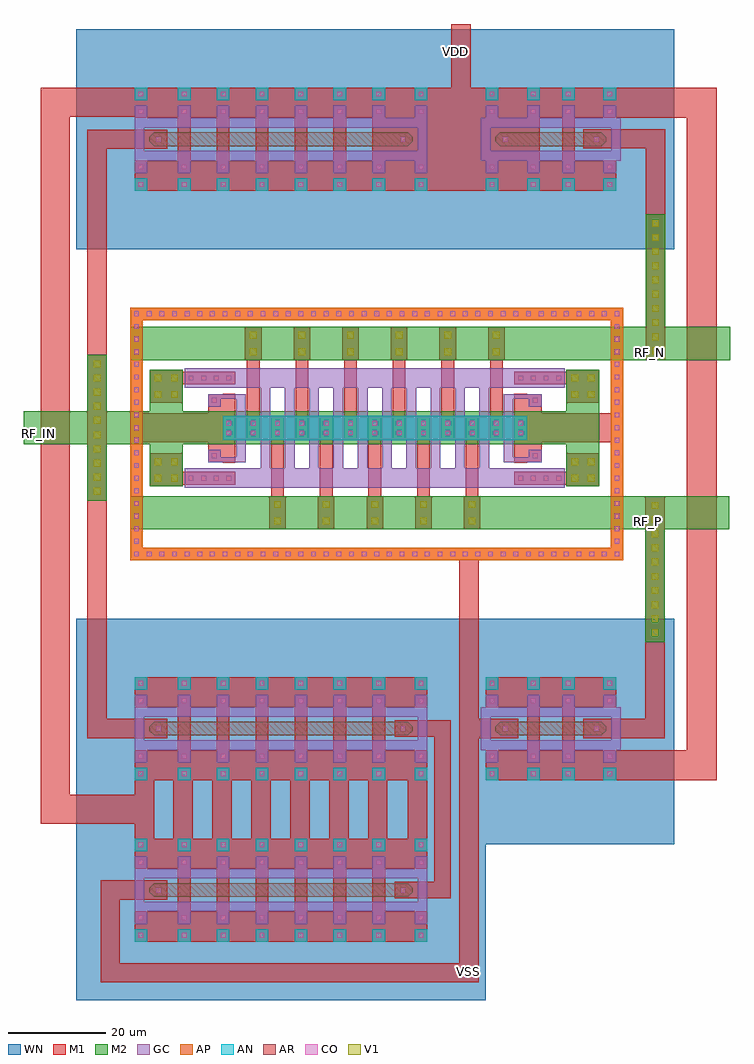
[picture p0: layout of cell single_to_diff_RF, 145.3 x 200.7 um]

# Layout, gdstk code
import gdstk
lib = gdstk.Library(unit=1e-6, precision=1e-07)
def R(c, l, rs):  # rectangles x0, y0, x1, y1
    for r in rs: c.add(gdstk.rectangle(r[:2], r[2:], *l))
def A(c, l, x, y, w, h, nx, ny, dx, dy):  # array of equal rectangles
    R(c, l, [(x+i*dx, y+j*dy, x+i*dx+w, y+j*dy+h) for i in range(nx) for j in range(ny)])
def P(c, l, *ps):  # polygons
    for p in ps: c.add(gdstk.Polygon(p, *l))
AP = (3, 1)
AN = (3, 2)
AR = (3, 3)
GC = (8, 1)
CO = (11, 0)
M1 = (13, 0)
V1 = (19, 0)
M2 = (20, 0)
WN = (140, 0)

fet_n = lib.new_cell('fet_n')
R(fet_n, AN, [(-31.3,-2.5,31.3,2.5)])
A(fet_n, CO, -30.5, -1.5, 1, 1, 13, 2, 5, 2)
A(fet_n, M1, -31.3, -2.3, 2.6, 4.6, 13, 1, 5, 0)
fet_n.add(gdstk.FlexPath([(2.5,-3.7),(2.5,3.7)], 2, ends="flush", simple_path=True, layer=8, datatype=1))  # GC
fet_n.add(gdstk.FlexPath([(-2.5,-3.7),(-2.5,3.7)], 2, ends="flush", simple_path=True, layer=8, datatype=1))  # GC
fet_n.add(gdstk.FlexPath([(7.5,-3.7),(7.5,3.7)], 2, ends="flush", simple_path=True, layer=8, datatype=1))  # GC
fet_n.add(gdstk.FlexPath([(-7.5,-3.7),(-7.5,3.7)], 2, ends="flush", simple_path=True, layer=8, datatype=1))  # GC
fet_n.add(gdstk.FlexPath([(12.5,-3.7),(12.5,3.7)], 2, ends="flush", simple_path=True, layer=8, datatype=1))  # GC
fet_n.add(gdstk.FlexPath([(-12.5,-3.7),(-12.5,3.7)], 2, ends="flush", simple_path=True, layer=8, datatype=1))  # GC
fet_n.add(gdstk.FlexPath([(17.5,-3.7),(17.5,3.7)], 2, ends="flush", simple_path=True, layer=8, datatype=1))  # GC
fet_n.add(gdstk.FlexPath([(-17.5,-3.7),(-17.5,3.7)], 2, ends="flush", simple_path=True, layer=8, datatype=1))  # GC
fet_n.add(gdstk.FlexPath([(22.5,-3.7),(22.5,3.7)], 2, ends="flush", simple_path=True, layer=8, datatype=1))  # GC
fet_n.add(gdstk.FlexPath([(-22.5,-3.7),(-22.5,3.7)], 2, ends="flush", simple_path=True, layer=8, datatype=1))  # GC
fet_n.add(gdstk.FlexPath([(27.5,-3.7),(27.5,3.7)], 2, ends="flush", simple_path=True, layer=8, datatype=1))  # GC
fet_n.add(gdstk.FlexPath([(-27.5,-3.7),(-27.5,3.7)], 2, ends="flush", simple_path=True, layer=8, datatype=1))  # GC

res_diff = lib.new_cell('res_diff')
P(res_diff, AR, [(-26.1,-1.4),(-27.1,-0.4),(-27.1,0.4),(-26.1,1.4),(26.1,1.4),(27.1,0.4),(27.1,-0.4),(26.1,-1.4)])
P(res_diff, GC, [(-30.1,-4.4),(-30.1,2.4),(-28.1,2.4),(-28.1,-2.4),(28.1,-2.4),(28.1,2.4),(-30.1,2.4),(-30.1,4.4),(30.1,4.4),(30.1,-4.4)])
R(res_diff, CO, [(-25.6,-0.5,-24.6,0.5), (24.6,-0.5,25.6,0.5)])
R(res_diff, M1, [(-26.8,-1.7,-23.4,1.7), (23.4,-1.7,26.8,1.7)])

via_1 = lib.new_cell('via_1')
R(via_1, M1, [(-1.7,-1.7,1.7,1.7)])
R(via_1, V1, [(-0.7,-0.7,0.7,0.7)])
R(via_1, M2, [(-1.7,-1.7,1.7,1.7)])

cont_p = lib.new_cell('cont_p')
R(cont_p, AP, [(-1.3,-1.3,1.3,1.3)])
R(cont_p, CO, [(-0.5,-0.5,0.5,0.5)])
R(cont_p, M1, [(-1.3,-1.3,1.3,1.3)])

cont_g = lib.new_cell('cont_g')
R(cont_g, GC, [(-1.3,-1.3,1.3,1.3)])
R(cont_g, CO, [(-0.5,-0.5,0.5,0.5)])
R(cont_g, M1, [(-1.3,-1.3,1.3,1.3)])

cont_n = lib.new_cell('cont_n')
R(cont_n, AN, [(-1.3,-1.3,1.3,1.3)])
R(cont_n, CO, [(-0.5,-0.5,0.5,0.5)])
R(cont_n, M1, [(-1.3,-1.3,1.3,1.3)])

via_1_2 = lib.new_cell('via_1$2')
R(via_1_2, M1, [(-2,-15,2,15)])
A(via_1_2, V1, -0.7, -13.8, 1.4, 1.4, 1, 5, 0, 2.9)
A(via_1_2, V1, -0.7, 0.8, 1.4, 1.4, 1, 5, 0, 2.9)
R(via_1_2, M2, [(-2,-15,2,15)])

res_diff_2 = lib.new_cell('res_diff$2')
P(res_diff_2, AR, [(-10.4,-1.4),(-11.4,-0.4),(-11.4,0.4),(-10.4,1.4),(10.4,1.4),(11.4,0.4),(11.4,-0.4),(10.4,-1.4)])
P(res_diff_2, GC, [(-14.4,-4.4),(-14.4,2.4),(-12.4,2.4),(-12.4,-2.4),(12.4,-2.4),(12.4,2.4),(-14.4,2.4),(-14.4,4.4),(14.4,4.4),(14.4,-4.4)])
R(res_diff_2, CO, [(-9.9,-0.5,-8.9,0.5), (8.9,-0.5,9.9,0.5)])
R(res_diff_2, M1, [(-11.1,-1.7,-7.7,1.7), (7.7,-1.7,11.1,1.7)])

single_to_diff_rf = lib.new_cell('single_to_diff_RF')
R(single_to_diff_rf, GC, [(46.3,-7,48.3,-6.2), (101.3,-7,103.3,-6.2), (46.3,6.2,48.3,7), (101.3,6.2,103.3,7)])
A(single_to_diff_rf, M1, 34.3, -103, 2.6, 1, 6, 2, 8, 15)
A(single_to_diff_rf, M1, 34.3, -69.8, 2.6, 1, 6, 2, 8, 15)
A(single_to_diff_rf, M1, 34.3, 51.4, 2.6, 1, 6, 2, 8, 15)
R(single_to_diff_rf, M1, [(25.4,-105.6,85.6,-99.4), (25.4,-103,28,-102), (83,-103,85.6,-102), (25.4,-90.6,85.6,-84.4), (25.4,-88,28,-87), (83,-88,85.6,-87), (25.4,-72.4,85.6,-66.2), (97.6,-72.4,124.4,-66.2), (25.4,-69.8,28,-68.8), (83,-69.8,85.6,-68.8), (97.6,-69.8,100.2,-68.8), (106.1,-69.8,108.7,-68.8), (113.3,-69.8,115.9,-68.8), (121.8,-69.8,124.4,-68.8), (25.4,-57.4,85.6,-51.2), (97.6,-57.4,124.4,-51.2), (25.4,-54.8,28,-53.8), (83,-54.8,85.6,-53.8), (97.6,-54.8,100.2,-53.8), (106.1,-54.8,108.7,-53.8), (113.3,-54.8,115.9,-53.8), (121.8,-54.8,124.4,-53.8), (43.1,-7,43.5,-4.4), (106.1,-7,106.5,-4.4), (40.5,-4.4,43.5,4.4), (106.1,-4.4,109.1,4.4), (43.1,4.4,43.5,7), (106.1,4.4,106.5,7), (25.4,48.8,85.6,55), (85.6,48.8,97.6,70), (97.6,48.8,124.4,55), (25.4,51.4,28,52.4), (83,51.4,85.6,52.4), (97.6,51.4,100.2,52.4), (106.1,51.4,108.7,52.4), (113.3,51.4,115.9,52.4), (121.8,51.4,124.4,52.4), (76.9,55,78.9,63.8), (78.9,55,85.6,63.8), (97.6,55,104.3,65), (104.3,55,106.1,65), (25.4,63.8,85.6,70), (97.6,63.8,124.4,70), (25.4,66.4,28,67.4), (83,66.4,85.6,67.4), (97.6,66.4,100.2,67.4), (106.1,66.4,108.7,67.4), (113.3,66.4,115.9,67.4), (121.8,66.4,124.4,67.4)])
R(single_to_diff_rf, WN, [(13.4,-117.6,97.6,-72.4), (85.6,-85.6,136.4,-39.2), (13.4,-84.4,97.6,-39.2), (13.4,36.8,97.6,82), (85.6,36.8,136.4,82)])
single_to_diff_rf.add(gdstk.FlexPath([(121.7,66.9),(142,66.9),(142,-69.3),(121.5,-69.3)], 6.2, ends="flush", simple_path=True, layer=13, datatype=0))  # M1
single_to_diff_rf.add(gdstk.FlexPath([(104.6,0.1),(124.2,0.1)], 6, ends="flush", simple_path=True, layer=13, datatype=0))  # M1
single_to_diff_rf.add(gdstk.FlexPath([(42.1,0.1),(26,0.1)], 6, ends="flush", simple_path=True, layer=13, datatype=0))  # M1
single_to_diff_rf.add(gdstk.FlexPath([(117.7,59.5),(132.5,59.5),(132.5,15.6)], 4, ends="flush", simple_path=True, layer=13, datatype=0))  # M1
single_to_diff_rf.add(gdstk.FlexPath([(117.7,-61.8),(132.4,-61.8),(132.4,-17.5)], 4, ends="flush", simple_path=True, layer=13, datatype=0))  # M1
single_to_diff_rf.add(gdstk.FlexPath([(104.3,-61.8),(94.2,-61.8),(94.2,-26)], 4, ends="flush", simple_path=True, layer=13, datatype=0))  # M1
single_to_diff_rf.add(gdstk.FlexPath([(49.8,2.3),(49.8,15.7)], 2.6, ends="flush", simple_path=True, layer=13, datatype=0))  # M1
single_to_diff_rf.add(gdstk.FlexPath([(59.8,2.3),(59.8,15.7)], 2.6, ends="flush", simple_path=True, layer=13, datatype=0))  # M1
single_to_diff_rf.add(gdstk.FlexPath([(54.8,-2.3),(54.8,-14.2)], 2.6, ends="flush", simple_path=True, layer=13, datatype=0))  # M1
single_to_diff_rf.add(gdstk.FlexPath([(44.8,7.1),(44.8,2.3)], 2.6, ends="flush", simple_path=True, layer=13, datatype=0))  # M1
single_to_diff_rf.add(gdstk.FlexPath([(44.8,-2.3),(44.8,-7.1)], 2.6, ends="flush", simple_path=True, layer=13, datatype=0))  # M1
single_to_diff_rf.add(gdstk.FlexPath([(64.8,-2.3),(64.8,-14.2)], 2.6, ends="flush", simple_path=True, layer=13, datatype=0))  # M1
single_to_diff_rf.add(gdstk.FlexPath([(74.8,-2.3),(74.8,-14.2)], 2.6, ends="flush", simple_path=True, layer=13, datatype=0))  # M1
single_to_diff_rf.add(gdstk.FlexPath([(84.8,-2.3),(84.8,-14.2)], 2.6, ends="flush", simple_path=True, layer=13, datatype=0))  # M1
single_to_diff_rf.add(gdstk.FlexPath([(94.8,-2.3),(94.8,-14.2)], 2.6, ends="flush", simple_path=True, layer=13, datatype=0))  # M1
single_to_diff_rf.add(gdstk.FlexPath([(104.8,-2.3),(104.8,-7.1)], 2.6, ends="flush", simple_path=True, layer=13, datatype=0))  # M1
single_to_diff_rf.add(gdstk.FlexPath([(104.8,7.1),(104.8,2.3)], 2.6, ends="flush", simple_path=True, layer=13, datatype=0))  # M1
single_to_diff_rf.add(gdstk.FlexPath([(99.8,2.3),(99.8,15.7)], 2.6, ends="flush", simple_path=True, layer=13, datatype=0))  # M1
single_to_diff_rf.add(gdstk.FlexPath([(69.8,2.3),(69.8,15.7)], 2.6, ends="flush", simple_path=True, layer=13, datatype=0))  # M1
single_to_diff_rf.add(gdstk.FlexPath([(79.8,2.3),(79.8,15.7)], 2.6, ends="flush", simple_path=True, layer=13, datatype=0))  # M1
single_to_diff_rf.add(gdstk.FlexPath([(89.8,2.3),(89.8,15.7)], 2.6, ends="flush", simple_path=True, layer=13, datatype=0))  # M1
single_to_diff_rf.add(gdstk.FlexPath([(46.1,10.3),(35.3,10.3)], 2.6, ends="flush", simple_path=True, layer=13, datatype=0))  # M1
single_to_diff_rf.add(gdstk.FlexPath([(46,-10.3),(35.3,-10.3)], 2.6, ends="flush", simple_path=True, layer=13, datatype=0))  # M1
single_to_diff_rf.add(gdstk.FlexPath([(114.2,-10.3),(103.5,-10.3)], 2.6, ends="flush", simple_path=True, layer=13, datatype=0))  # M1
single_to_diff_rf.add(gdstk.FlexPath([(114.2,10.3),(103.5,10.3)], 2.6, ends="flush", simple_path=True, layer=13, datatype=0))  # M1
single_to_diff_rf.add(gdstk.FlexPath([(35.6,-56.1),(35.6,-67.5)], 2.6, ends="flush", simple_path=True, layer=13, datatype=0))  # M1
single_to_diff_rf.add(gdstk.FlexPath([(35.6,65.1),(35.6,53.7)], 2.6, ends="flush", simple_path=True, layer=13, datatype=0))  # M1
single_to_diff_rf.add(gdstk.FlexPath([(43.6,65.1),(43.6,53.7)], 2.6, ends="flush", simple_path=True, layer=13, datatype=0))  # M1
single_to_diff_rf.add(gdstk.FlexPath([(51.6,65.1),(51.6,53.7)], 2.6, ends="flush", simple_path=True, layer=13, datatype=0))  # M1
single_to_diff_rf.add(gdstk.FlexPath([(59.6,65.1),(59.6,53.7)], 2.6, ends="flush", simple_path=True, layer=13, datatype=0))  # M1
single_to_diff_rf.add(gdstk.FlexPath([(67.6,65.1),(67.6,53.7)], 2.6, ends="flush", simple_path=True, layer=13, datatype=0))  # M1
single_to_diff_rf.add(gdstk.FlexPath([(75.6,65.1),(75.6,53.7)], 2.6, ends="flush", simple_path=True, layer=13, datatype=0))  # M1
single_to_diff_rf.add(gdstk.FlexPath([(43.6,-56.1),(43.6,-67.5)], 2.6, ends="flush", simple_path=True, layer=13, datatype=0))  # M1
single_to_diff_rf.add(gdstk.FlexPath([(51.6,-56.1),(51.6,-67.5)], 2.6, ends="flush", simple_path=True, layer=13, datatype=0))  # M1
single_to_diff_rf.add(gdstk.FlexPath([(59.6,-56.1),(59.6,-67.5)], 2.6, ends="flush", simple_path=True, layer=13, datatype=0))  # M1
single_to_diff_rf.add(gdstk.FlexPath([(67.6,-56.1),(67.6,-67.5)], 2.6, ends="flush", simple_path=True, layer=13, datatype=0))  # M1
single_to_diff_rf.add(gdstk.FlexPath([(75.6,-56.1),(75.6,-67.5)], 2.6, ends="flush", simple_path=True, layer=13, datatype=0))  # M1
single_to_diff_rf.add(gdstk.FlexPath([(35.6,-89.3),(35.6,-100.7)], 2.6, ends="flush", simple_path=True, layer=13, datatype=0))  # M1
single_to_diff_rf.add(gdstk.FlexPath([(43.6,-89.3),(43.6,-100.7)], 2.6, ends="flush", simple_path=True, layer=13, datatype=0))  # M1
single_to_diff_rf.add(gdstk.FlexPath([(51.6,-89.3),(51.6,-100.7)], 2.6, ends="flush", simple_path=True, layer=13, datatype=0))  # M1
single_to_diff_rf.add(gdstk.FlexPath([(59.6,-89.3),(59.6,-100.7)], 2.6, ends="flush", simple_path=True, layer=13, datatype=0))  # M1
single_to_diff_rf.add(gdstk.FlexPath([(67.6,-89.3),(67.6,-100.7)], 2.6, ends="flush", simple_path=True, layer=13, datatype=0))  # M1
single_to_diff_rf.add(gdstk.FlexPath([(75.6,-89.3),(75.6,-100.7)], 2.6, ends="flush", simple_path=True, layer=13, datatype=0))  # M1
single_to_diff_rf.add(gdstk.FlexPath([(107.4,-56.1),(107.4,-68.8)], 2.6, ends="flush", simple_path=True, layer=13, datatype=0))  # M1
single_to_diff_rf.add(gdstk.FlexPath([(114.6,-56.1),(114.6,-68.8)], 2.6, ends="flush", simple_path=True, layer=13, datatype=0))  # M1
single_to_diff_rf.add(gdstk.FlexPath([(78.9,-61.8),(88.7,-61.8),(88.7,-95),(78.9,-95)], 3.4, ends="flush", simple_path=True, layer=13, datatype=0))  # M1
single_to_diff_rf.add(gdstk.FlexPath([(107.4,66.3),(107.4,53.6)], 2.6, ends="flush", simple_path=True, layer=13, datatype=0))  # M1
single_to_diff_rf.add(gdstk.FlexPath([(114.6,66.3),(114.6,53.6)], 2.6, ends="flush", simple_path=True, layer=13, datatype=0))  # M1
single_to_diff_rf.add(gdstk.FlexPath([(27.4,-71.1),(27.4,-85.7)], 4, ends="flush", simple_path=True, layer=13, datatype=0))  # M1
single_to_diff_rf.add(gdstk.FlexPath([(35.4,-71.1),(35.4,-85.7)], 4, ends="flush", simple_path=True, layer=13, datatype=0))  # M1
single_to_diff_rf.add(gdstk.FlexPath([(43.4,-71.1),(43.4,-85.7)], 4, ends="flush", simple_path=True, layer=13, datatype=0))  # M1
single_to_diff_rf.add(gdstk.FlexPath([(51.4,-71.1),(51.4,-85.7)], 4, ends="flush", simple_path=True, layer=13, datatype=0))  # M1
single_to_diff_rf.add(gdstk.FlexPath([(59.4,-71.1),(59.4,-85.7)], 4, ends="flush", simple_path=True, layer=13, datatype=0))  # M1
single_to_diff_rf.add(gdstk.FlexPath([(67.4,-71.1),(67.4,-85.7)], 4, ends="flush", simple_path=True, layer=13, datatype=0))  # M1
single_to_diff_rf.add(gdstk.FlexPath([(75.4,-71.1),(75.4,-85.7)], 4, ends="flush", simple_path=True, layer=13, datatype=0))  # M1
single_to_diff_rf.add(gdstk.FlexPath([(83.6,-71.1),(83.6,-85.7)], 4, ends="flush", simple_path=True, layer=13, datatype=0))  # M1
single_to_diff_rf.add(gdstk.FlexPath([(94.2,-62.5),(94.2,-112),(20.4,-112),(20.4,-95),(32.1,-95)], 4, ends="flush", simple_path=True, layer=13, datatype=0))  # M1
single_to_diff_rf.add(gdstk.FlexPath([(32.1,-61.8),(17.7,-61.8),(17.7,0.1)], 4, ends="flush", simple_path=True, layer=13, datatype=0))  # M1
single_to_diff_rf.add(gdstk.FlexPath([(32.1,59.4),(17.7,59.4),(17.7,-1.7)], 4, ends="flush", simple_path=True, layer=13, datatype=0))  # M1
single_to_diff_rf.add(gdstk.FlexPath([(92.5,67.3),(92.5,83.1)], 4, ends="flush", simple_path=True, layer=13, datatype=0))  # M1
single_to_diff_rf.add(gdstk.FlexPath([(27.4,-78.4),(9.1,-78.4),(9.1,67),(27.6,67)], 6, ends="flush", simple_path=True, layer=13, datatype=0))  # M1
single_to_diff_rf.add(gdstk.FlexPath([(125.8,17.4),(147.9,17.4)], 6.8, ends="flush", simple_path=True, layer=20, datatype=0))  # M2
single_to_diff_rf.add(gdstk.FlexPath([(125.8,-17.4),(147.7,-17.4)], 6.8, ends="flush", simple_path=True, layer=20, datatype=0))  # M2
single_to_diff_rf.add(gdstk.FlexPath([(31.9,8.6),(31.9,-8.8)], 6.8, ends="flush", simple_path=True, layer=20, datatype=0))  # M2
single_to_diff_rf.add(gdstk.FlexPath([(117.6,8.6),(117.6,-8.3)], 6.8, ends="flush", simple_path=True, layer=20, datatype=0))  # M2
single_to_diff_rf.add(gdstk.FlexPath([(24.5,17.4),(125.9,17.4)], 6.8, ends="flush", simple_path=True, layer=20, datatype=0))  # M2
single_to_diff_rf.add(gdstk.FlexPath([(24.5,-17.4),(125.9,-17.4)], 6.8, ends="flush", simple_path=True, layer=20, datatype=0))  # M2
single_to_diff_rf.add(gdstk.FlexPath([(121,0.1),(2.6,0.1)], 6.8, ends="flush", simple_path=True, layer=20, datatype=0))  # M2
single_to_diff_rf.add(gdstk.FlexPath([(52.3,-3.7),(52.3,-8.3)], 2, ends="flush", simple_path=True, layer=8, datatype=1))  # GC
single_to_diff_rf.add(gdstk.FlexPath([(57.3,-3.7),(57.3,-8.3)], 2, ends="flush", simple_path=True, layer=8, datatype=1))  # GC
single_to_diff_rf.add(gdstk.FlexPath([(62.3,-3.7),(62.3,-8.3)], 2, ends="flush", simple_path=True, layer=8, datatype=1))  # GC
single_to_diff_rf.add(gdstk.FlexPath([(67.3,-3.7),(67.3,-8.3)], 2, ends="flush", simple_path=True, layer=8, datatype=1))  # GC
single_to_diff_rf.add(gdstk.FlexPath([(72.3,-3.7),(72.3,-8.3)], 2, ends="flush", simple_path=True, layer=8, datatype=1))  # GC
single_to_diff_rf.add(gdstk.FlexPath([(77.3,-3.7),(77.3,-8.3)], 2, ends="flush", simple_path=True, layer=8, datatype=1))  # GC
single_to_diff_rf.add(gdstk.FlexPath([(82.3,-3.7),(82.3,-8.3)], 2, ends="flush", simple_path=True, layer=8, datatype=1))  # GC
single_to_diff_rf.add(gdstk.FlexPath([(87.3,-3.7),(87.3,-8.3)], 2, ends="flush", simple_path=True, layer=8, datatype=1))  # GC
single_to_diff_rf.add(gdstk.FlexPath([(92.3,-3.7),(92.3,-8.3)], 2, ends="flush", simple_path=True, layer=8, datatype=1))  # GC
single_to_diff_rf.add(gdstk.FlexPath([(97.3,-3.7),(97.3,-8.3)], 2, ends="flush", simple_path=True, layer=8, datatype=1))  # GC
single_to_diff_rf.add(gdstk.FlexPath([(102.3,-3.7),(102.3,-6.2)], 2, ends="flush", simple_path=True, layer=8, datatype=1))  # GC
single_to_diff_rf.add(gdstk.FlexPath([(102.3,3.7),(102.3,6.2)], 2, ends="flush", simple_path=True, layer=8, datatype=1))  # GC
single_to_diff_rf.add(gdstk.FlexPath([(97.3,8.3),(97.3,3.7)], 2, ends="flush", simple_path=True, layer=8, datatype=1))  # GC
single_to_diff_rf.add(gdstk.FlexPath([(92.3,8.3),(92.3,3.7)], 2, ends="flush", simple_path=True, layer=8, datatype=1))  # GC
single_to_diff_rf.add(gdstk.FlexPath([(47.3,3.7),(47.3,6.2)], 2, ends="flush", simple_path=True, layer=8, datatype=1))  # GC
single_to_diff_rf.add(gdstk.FlexPath([(47.3,-3.7),(47.3,-6.2)], 2, ends="flush", simple_path=True, layer=8, datatype=1))  # GC
single_to_diff_rf.add(gdstk.FlexPath([(52.3,8.3),(52.3,3.7)], 2, ends="flush", simple_path=True, layer=8, datatype=1))  # GC
single_to_diff_rf.add(gdstk.FlexPath([(57.3,8.3),(57.3,3.7)], 2, ends="flush", simple_path=True, layer=8, datatype=1))  # GC
single_to_diff_rf.add(gdstk.FlexPath([(62.3,8.3),(62.3,3.7)], 2, ends="flush", simple_path=True, layer=8, datatype=1))  # GC
single_to_diff_rf.add(gdstk.FlexPath([(67.3,8.3),(67.3,3.7)], 2, ends="flush", simple_path=True, layer=8, datatype=1))  # GC
single_to_diff_rf.add(gdstk.FlexPath([(72.3,8.3),(72.3,3.7)], 2, ends="flush", simple_path=True, layer=8, datatype=1))  # GC
single_to_diff_rf.add(gdstk.FlexPath([(77.3,8.3),(77.3,3.7)], 2, ends="flush", simple_path=True, layer=8, datatype=1))  # GC
single_to_diff_rf.add(gdstk.FlexPath([(82.3,8.3),(82.3,3.7)], 2, ends="flush", simple_path=True, layer=8, datatype=1))  # GC
single_to_diff_rf.add(gdstk.FlexPath([(87.3,8.3),(87.3,3.7)], 2, ends="flush", simple_path=True, layer=8, datatype=1))  # GC
single_to_diff_rf.add(gdstk.FlexPath([(46.3,6.5),(43.1,6.5)], 1, ends="flush", simple_path=True, layer=8, datatype=1))  # GC
single_to_diff_rf.add(gdstk.FlexPath([(46.3,-6.5),(43.1,-6.5)], 1, ends="flush", simple_path=True, layer=8, datatype=1))  # GC
single_to_diff_rf.add(gdstk.FlexPath([(106.5,6.5),(103.3,6.5)], 1, ends="flush", simple_path=True, layer=8, datatype=1))  # GC
single_to_diff_rf.add(gdstk.FlexPath([(106.5,-6.5),(103.3,-6.5)], 1, ends="flush", simple_path=True, layer=8, datatype=1))  # GC
single_to_diff_rf.add(gdstk.FlexPath([(35.7,-10.3),(113.9,-10.3)], 4, ends="flush", simple_path=True, layer=8, datatype=1))  # GC
single_to_diff_rf.add(gdstk.FlexPath([(113.9,10.3),(35.7,10.3)], 4, ends="flush", simple_path=True, layer=8, datatype=1))  # GC
single_to_diff_rf.add(gdstk.Reference(fet_n, (74.8,0)))
single_to_diff_rf.add(gdstk.Reference(res_diff, (55.5,59.4)))
single_to_diff_rf.add(gdstk.Reference(via_1, (74.8,-15.7)))
single_to_diff_rf.add(gdstk.Reference(via_1, (74.8,-19.1)))
single_to_diff_rf.add(gdstk.Reference(cont_p, (75.2,23.5)))
single_to_diff_rf.add(gdstk.Reference(cont_p, (124.6,-18.1)))
single_to_diff_rf.add(gdstk.Reference(cont_p, (25.8,-18.1)))
single_to_diff_rf.add(gdstk.Reference(cont_p, (75.2,-25.9)))
single_to_diff_rf.add(gdstk.Reference(cont_g, (75.6,53.7)))
single_to_diff_rf.add(gdstk.Reference(cont_n, (75.6,50.1)))
single_to_diff_rf.add(gdstk.Reference(cont_g, (75.6,65.1)))
single_to_diff_rf.add(gdstk.Reference(cont_n, (75.6,68.7)))
single_to_diff_rf.add(gdstk.Reference(res_diff, (55.5,-61.8)))
single_to_diff_rf.add(gdstk.Reference(cont_g, (75.6,-67.5)))
single_to_diff_rf.add(gdstk.Reference(cont_n, (75.6,-71.1)))
single_to_diff_rf.add(gdstk.Reference(cont_g, (75.6,-56.1)))
single_to_diff_rf.add(gdstk.Reference(cont_n, (75.6,-52.5)))
single_to_diff_rf.add(gdstk.Reference(res_diff, (55.5,-95)))
single_to_diff_rf.add(gdstk.Reference(cont_g, (75.6,-100.7)))
single_to_diff_rf.add(gdstk.Reference(cont_n, (75.6,-104.3)))
single_to_diff_rf.add(gdstk.Reference(cont_g, (75.6,-89.3)))
single_to_diff_rf.add(gdstk.Reference(cont_n, (75.6,-85.7)))
single_to_diff_rf.add(gdstk.Reference(via_1_2, (132.4,-29)))
single_to_diff_rf.add(gdstk.Reference(via_1, (54.8,-19.1)))
single_to_diff_rf.add(gdstk.Reference(via_1, (64.8,-19.1)))
single_to_diff_rf.add(gdstk.Reference(via_1, (84.8,-19.1)))
single_to_diff_rf.add(gdstk.Reference(via_1, (94.8,-19.1)))
single_to_diff_rf.add(gdstk.Reference(via_1, (89.8,15.7)))
single_to_diff_rf.add(gdstk.Reference(via_1, (99.8,15.7)))
single_to_diff_rf.add(gdstk.Reference(via_1, (79.8,19.1)))
single_to_diff_rf.add(gdstk.Reference(via_1, (89.8,19.1)))
single_to_diff_rf.add(gdstk.Reference(via_1, (99.8,19.1)))
single_to_diff_rf.add(gdstk.Reference(cont_g, (107.8,-5.7)))
single_to_diff_rf.add(gdstk.Reference(cont_g, (107.8,5.7)))
single_to_diff_rf.add(gdstk.Reference(via_1, (119.3,-6.9)))
single_to_diff_rf.add(gdstk.Reference(via_1, (115.9,-6.9)))
single_to_diff_rf.add(gdstk.Reference(via_1, (119.3,-10.3)))
single_to_diff_rf.add(gdstk.Reference(via_1, (115.9,-10.3)))
single_to_diff_rf.add(gdstk.Reference(via_1, (119.3,10.3)))
single_to_diff_rf.add(gdstk.Reference(cont_p, (77.8,23.5)))
single_to_diff_rf.add(gdstk.Reference(cont_p, (80.4,23.5)))
single_to_diff_rf.add(gdstk.Reference(cont_p, (83,23.5)))
single_to_diff_rf.add(gdstk.Reference(cont_p, (85.6,23.5)))
single_to_diff_rf.add(gdstk.Reference(cont_p, (88.2,23.5)))
single_to_diff_rf.add(gdstk.Reference(cont_p, (90.8,23.5)))
single_to_diff_rf.add(gdstk.Reference(cont_p, (93.4,23.5)))
single_to_diff_rf.add(gdstk.Reference(cont_p, (96,23.5)))
single_to_diff_rf.add(gdstk.Reference(cont_p, (98.6,23.5)))
single_to_diff_rf.add(gdstk.Reference(cont_p, (101.2,23.5)))
single_to_diff_rf.add(gdstk.Reference(cont_p, (103.8,23.5)))
single_to_diff_rf.add(gdstk.Reference(cont_p, (106.4,23.5)))
single_to_diff_rf.add(gdstk.Reference(cont_p, (109,23.5)))
single_to_diff_rf.add(gdstk.Reference(cont_p, (111.6,23.5)))
single_to_diff_rf.add(gdstk.Reference(cont_p, (114.2,23.5)))
single_to_diff_rf.add(gdstk.Reference(cont_p, (116.8,23.5)))
single_to_diff_rf.add(gdstk.Reference(cont_p, (119.4,23.5)))
single_to_diff_rf.add(gdstk.Reference(cont_p, (122,23.5)))
single_to_diff_rf.add(gdstk.Reference(cont_p, (124.6,23.5)))
single_to_diff_rf.add(gdstk.Reference(cont_p, (124.6,20.9)))
single_to_diff_rf.add(gdstk.Reference(cont_p, (124.6,18.3)))
single_to_diff_rf.add(gdstk.Reference(cont_p, (124.6,15.7)))
single_to_diff_rf.add(gdstk.Reference(cont_p, (124.6,13.1)))
single_to_diff_rf.add(gdstk.Reference(cont_p, (124.6,10.5)))
single_to_diff_rf.add(gdstk.Reference(cont_p, (124.6,7.9)))
single_to_diff_rf.add(gdstk.Reference(cont_p, (124.6,5.3)))
single_to_diff_rf.add(gdstk.Reference(cont_p, (124.6,2.7)))
single_to_diff_rf.add(gdstk.Reference(cont_p, (124.6,0.1)))
single_to_diff_rf.add(gdstk.Reference(cont_p, (124.6,-2.5)))
single_to_diff_rf.add(gdstk.Reference(cont_p, (124.6,-5.1)))
single_to_diff_rf.add(gdstk.Reference(cont_p, (124.6,-7.7)))
single_to_diff_rf.add(gdstk.Reference(cont_p, (124.6,-10.3)))
single_to_diff_rf.add(gdstk.Reference(cont_p, (124.6,-12.9)))
single_to_diff_rf.add(gdstk.Reference(cont_p, (124.6,-15.5)))
single_to_diff_rf.add(gdstk.Reference(via_1, (115.9,10.3)))
single_to_diff_rf.add(gdstk.Reference(via_1, (119.3,6.9)))
single_to_diff_rf.add(gdstk.Reference(via_1, (115.9,6.9)))
single_to_diff_rf.add(gdstk.Reference(via_1, (119.3,-6.9)))
single_to_diff_rf.add(gdstk.Reference(cont_g, (84.3,53.7)))
single_to_diff_rf.add(gdstk.Reference(via_1, (115.9,-6.9)))
single_to_diff_rf.add(gdstk.Reference(cont_n, (84.3,50.1)))
single_to_diff_rf.add(gdstk.Reference(via_1, (119.3,-10.3)))
single_to_diff_rf.add(gdstk.Reference(cont_g, (84.3,65.1)))
single_to_diff_rf.add(gdstk.Reference(via_1, (115.9,-10.3)))
single_to_diff_rf.add(gdstk.Reference(cont_n, (84.3,68.7)))
single_to_diff_rf.add(gdstk.Reference(via_1, (119.3,10.3)))
single_to_diff_rf.add(gdstk.Reference(via_1, (115.9,10.3)))
single_to_diff_rf.add(gdstk.Reference(via_1, (119.3,6.9)))
single_to_diff_rf.add(gdstk.Reference(via_1, (115.9,6.9)))
single_to_diff_rf.add(gdstk.Reference(cont_g, (112.6,-10.3)))
single_to_diff_rf.add(gdstk.Reference(cont_g, (110,-10.3)))
single_to_diff_rf.add(gdstk.Reference(cont_g, (107.4,-10.3)))
single_to_diff_rf.add(gdstk.Reference(cont_g, (104.8,-10.3)))
single_to_diff_rf.add(gdstk.Reference(cont_g, (112.6,10.3)))
single_to_diff_rf.add(gdstk.Reference(cont_g, (110,10.3)))
single_to_diff_rf.add(gdstk.Reference(res_diff_2, (111,59.4)))
single_to_diff_rf.add(gdstk.Reference(cont_g, (98.9,65.1)))
single_to_diff_rf.add(gdstk.Reference(cont_n, (98.9,68.7)))
single_to_diff_rf.add(gdstk.Reference(cont_g, (98.9,53.7)))
single_to_diff_rf.add(gdstk.Reference(cont_n, (98.9,50.1)))
single_to_diff_rf.add(gdstk.Reference(cont_g, (107.4,65.1)))
single_to_diff_rf.add(gdstk.Reference(cont_g, (114.6,65.1)))
single_to_diff_rf.add(gdstk.Reference(cont_g, (123.1,65.1)))
single_to_diff_rf.add(gdstk.Reference(cont_n, (107.4,68.7)))
single_to_diff_rf.add(gdstk.Reference(cont_n, (114.6,68.7)))
single_to_diff_rf.add(gdstk.Reference(cont_n, (123.1,68.7)))
single_to_diff_rf.add(gdstk.Reference(cont_g, (107.4,53.7)))
single_to_diff_rf.add(gdstk.Reference(cont_g, (114.6,53.7)))
single_to_diff_rf.add(gdstk.Reference(cont_g, (123.1,53.7)))
single_to_diff_rf.add(gdstk.Reference(cont_n, (107.4,50.1)))
single_to_diff_rf.add(gdstk.Reference(cont_n, (114.6,50.1)))
single_to_diff_rf.add(gdstk.Reference(cont_n, (123.1,50.1)))
single_to_diff_rf.add(gdstk.Reference(cont_g, (107.4,10.3)))
single_to_diff_rf.add(gdstk.Reference(via_1_2, (132.5,29)))
single_to_diff_rf.add(gdstk.Reference(via_1, (84.8,-15.7)))
single_to_diff_rf.add(gdstk.Reference(via_1, (94.8,-15.7)))
single_to_diff_rf.add(gdstk.Reference(cont_g, (104.8,10.3)))
single_to_diff_rf.add(gdstk.Reference(via_1, (79.8,15.7)))
single_to_diff_rf.add(gdstk.Reference(cont_p, (38.8,23.5)))
single_to_diff_rf.add(gdstk.Reference(cont_p, (41.4,23.5)))
single_to_diff_rf.add(gdstk.Reference(cont_p, (44,23.5)))
single_to_diff_rf.add(gdstk.Reference(cont_p, (46.6,23.5)))
single_to_diff_rf.add(gdstk.Reference(cont_p, (49.2,23.5)))
single_to_diff_rf.add(gdstk.Reference(cont_n, (26.7,50.1)))
single_to_diff_rf.add(gdstk.Reference(cont_p, (25.8,18.3)))
single_to_diff_rf.add(gdstk.Reference(cont_p, (25.8,15.7)))
single_to_diff_rf.add(gdstk.Reference(cont_p, (25.8,13.1)))
single_to_diff_rf.add(gdstk.Reference(cont_p, (25.8,10.5)))
single_to_diff_rf.add(gdstk.Reference(cont_p, (25.8,7.9)))
single_to_diff_rf.add(gdstk.Reference(cont_p, (25.8,5.3)))
single_to_diff_rf.add(gdstk.Reference(cont_p, (25.8,2.7)))
single_to_diff_rf.add(gdstk.Reference(cont_p, (25.8,0.1)))
single_to_diff_rf.add(gdstk.Reference(cont_p, (25.8,-2.5)))
single_to_diff_rf.add(gdstk.Reference(cont_p, (25.8,-5.1)))
single_to_diff_rf.add(gdstk.Reference(cont_p, (25.8,-7.7)))
single_to_diff_rf.add(gdstk.Reference(cont_p, (25.8,-10.3)))
single_to_diff_rf.add(gdstk.Reference(cont_p, (25.8,-12.9)))
single_to_diff_rf.add(gdstk.Reference(cont_p, (25.8,-15.5)))
single_to_diff_rf.add(gdstk.Reference(cont_p, (51.8,23.5)))
single_to_diff_rf.add(gdstk.Reference(cont_p, (54.4,23.5)))
single_to_diff_rf.add(gdstk.Reference(cont_g, (26.7,65.1)))
single_to_diff_rf.add(gdstk.Reference(cont_n, (26.7,68.7)))
single_to_diff_rf.add(gdstk.Reference(cont_g, (35.6,53.7)))
single_to_diff_rf.add(gdstk.Reference(cont_g, (43.6,53.7)))
single_to_diff_rf.add(gdstk.Reference(cont_g, (51.6,53.7)))
single_to_diff_rf.add(gdstk.Reference(cont_g, (59.6,53.7)))
single_to_diff_rf.add(gdstk.Reference(cont_g, (67.6,53.7)))
single_to_diff_rf.add(gdstk.Reference(cont_p, (57,23.5)))
single_to_diff_rf.add(gdstk.Reference(cont_p, (59.6,23.5)))
single_to_diff_rf.add(gdstk.Reference(cont_n, (35.6,50.1)))
single_to_diff_rf.add(gdstk.Reference(cont_n, (43.6,50.1)))
single_to_diff_rf.add(gdstk.Reference(cont_n, (51.6,50.1)))
single_to_diff_rf.add(gdstk.Reference(cont_n, (59.6,50.1)))
single_to_diff_rf.add(gdstk.Reference(cont_n, (67.6,50.1)))
single_to_diff_rf.add(gdstk.Reference(cont_p, (62.2,23.5)))
single_to_diff_rf.add(gdstk.Reference(cont_p, (64.8,23.5)))
single_to_diff_rf.add(gdstk.Reference(cont_g, (35.6,65.1)))
single_to_diff_rf.add(gdstk.Reference(cont_g, (43.6,65.1)))
single_to_diff_rf.add(gdstk.Reference(cont_g, (51.6,65.1)))
single_to_diff_rf.add(gdstk.Reference(cont_g, (59.6,65.1)))
single_to_diff_rf.add(gdstk.Reference(cont_g, (67.6,65.1)))
single_to_diff_rf.add(gdstk.Reference(cont_p, (67.4,23.5)))
single_to_diff_rf.add(gdstk.Reference(cont_p, (70,23.5)))
single_to_diff_rf.add(gdstk.Reference(cont_n, (35.6,68.7)))
single_to_diff_rf.add(gdstk.Reference(cont_n, (43.6,68.7)))
single_to_diff_rf.add(gdstk.Reference(cont_n, (51.6,68.7)))
single_to_diff_rf.add(gdstk.Reference(cont_n, (59.6,68.7)))
single_to_diff_rf.add(gdstk.Reference(cont_n, (67.6,68.7)))
single_to_diff_rf.add(gdstk.Reference(cont_p, (72.6,23.5)))
single_to_diff_rf.add(gdstk.Reference(via_1, (30.2,10.3)))
single_to_diff_rf.add(gdstk.Reference(via_1, (33.6,6.9)))
single_to_diff_rf.add(gdstk.Reference(via_1, (30.2,6.9)))
single_to_diff_rf.add(gdstk.Reference(via_1, (30.2,-10.3)))
single_to_diff_rf.add(gdstk.Reference(via_1, (33.6,-6.9)))
single_to_diff_rf.add(gdstk.Reference(via_1, (30.2,-6.9)))
single_to_diff_rf.add(gdstk.Reference(cont_g, (41.8,5.7)))
single_to_diff_rf.add(gdstk.Reference(via_1_2, (17.7,0.1)))
single_to_diff_rf.add(gdstk.Reference(cont_g, (41.8,-5.7)))
single_to_diff_rf.add(gdstk.Reference(cont_p, (28.4,23.5)))
single_to_diff_rf.add(gdstk.Reference(cont_p, (31,23.5)))
single_to_diff_rf.add(gdstk.Reference(via_1, (59.8,15.7)))
single_to_diff_rf.add(gdstk.Reference(via_1, (69.8,15.7)))
single_to_diff_rf.add(gdstk.Reference(via_1, (33.6,10.3)))
single_to_diff_rf.add(gdstk.Reference(via_1, (49.8,15.7)))
single_to_diff_rf.add(gdstk.Reference(via_1, (49.8,19.1)))
single_to_diff_rf.add(gdstk.Reference(via_1, (59.8,19.1)))
single_to_diff_rf.add(gdstk.Reference(via_1, (69.8,19.1)))
single_to_diff_rf.add(gdstk.Reference(cont_g, (44.8,10.3)))
single_to_diff_rf.add(gdstk.Reference(cont_g, (42.2,10.3)))
single_to_diff_rf.add(gdstk.Reference(cont_g, (26.7,53.7)))
single_to_diff_rf.add(gdstk.Reference(cont_g, (39.6,10.3)))
single_to_diff_rf.add(gdstk.Reference(cont_g, (37,10.3)))
single_to_diff_rf.add(gdstk.Reference(cont_p, (25.8,20.9)))
single_to_diff_rf.add(gdstk.Reference(cont_g, (44.8,-10.3)))
single_to_diff_rf.add(gdstk.Reference(cont_g, (42.2,-10.3)))
single_to_diff_rf.add(gdstk.Reference(cont_g, (39.6,-10.3)))
single_to_diff_rf.add(gdstk.Reference(cont_g, (37,-10.3)))
single_to_diff_rf.add(gdstk.Reference(cont_p, (33.6,23.5)))
single_to_diff_rf.add(gdstk.Reference(via_1, (33.6,-10.3)))
single_to_diff_rf.add(gdstk.Reference(via_1, (64.8,-15.7)))
single_to_diff_rf.add(gdstk.Reference(via_1, (54.8,-15.7)))
single_to_diff_rf.add(gdstk.Reference(cont_p, (25.8,23.5)))
single_to_diff_rf.add(gdstk.Reference(cont_p, (36.2,23.5)))
single_to_diff_rf.add(gdstk.Reference(cont_p, (38.8,-25.9)))
single_to_diff_rf.add(gdstk.Reference(cont_n, (35.6,-71.1)))
single_to_diff_rf.add(gdstk.Reference(cont_n, (43.6,-71.1)))
single_to_diff_rf.add(gdstk.Reference(cont_n, (51.6,-71.1)))
single_to_diff_rf.add(gdstk.Reference(cont_n, (59.6,-71.1)))
single_to_diff_rf.add(gdstk.Reference(cont_n, (67.6,-71.1)))
single_to_diff_rf.add(gdstk.Reference(cont_p, (41.4,-25.9)))
single_to_diff_rf.add(gdstk.Reference(cont_g, (35.6,-56.1)))
single_to_diff_rf.add(gdstk.Reference(cont_g, (43.6,-56.1)))
single_to_diff_rf.add(gdstk.Reference(cont_g, (51.6,-56.1)))
single_to_diff_rf.add(gdstk.Reference(cont_g, (59.6,-56.1)))
single_to_diff_rf.add(gdstk.Reference(cont_g, (67.6,-56.1)))
single_to_diff_rf.add(gdstk.Reference(cont_p, (44,-25.9)))
single_to_diff_rf.add(gdstk.Reference(cont_n, (35.6,-52.5)))
single_to_diff_rf.add(gdstk.Reference(cont_n, (43.6,-52.5)))
single_to_diff_rf.add(gdstk.Reference(cont_n, (51.6,-52.5)))
single_to_diff_rf.add(gdstk.Reference(cont_n, (59.6,-52.5)))
single_to_diff_rf.add(gdstk.Reference(cont_n, (67.6,-52.5)))
single_to_diff_rf.add(gdstk.Reference(cont_p, (46.6,-25.9)))
single_to_diff_rf.add(gdstk.Reference(cont_p, (49.2,-25.9)))
single_to_diff_rf.add(gdstk.Reference(cont_g, (26.7,-100.7)))
single_to_diff_rf.add(gdstk.Reference(cont_n, (26.7,-104.3)))
single_to_diff_rf.add(gdstk.Reference(cont_g, (26.7,-89.3)))
single_to_diff_rf.add(gdstk.Reference(cont_n, (26.7,-85.7)))
single_to_diff_rf.add(gdstk.Reference(cont_g, (35.6,-100.7)))
single_to_diff_rf.add(gdstk.Reference(cont_g, (43.6,-100.7)))
single_to_diff_rf.add(gdstk.Reference(cont_g, (51.6,-100.7)))
single_to_diff_rf.add(gdstk.Reference(cont_g, (59.6,-100.7)))
single_to_diff_rf.add(gdstk.Reference(cont_g, (67.6,-100.7)))
single_to_diff_rf.add(gdstk.Reference(cont_p, (51.8,-25.9)))
single_to_diff_rf.add(gdstk.Reference(cont_n, (35.6,-104.3)))
single_to_diff_rf.add(gdstk.Reference(cont_n, (43.6,-104.3)))
single_to_diff_rf.add(gdstk.Reference(cont_n, (51.6,-104.3)))
single_to_diff_rf.add(gdstk.Reference(cont_n, (59.6,-104.3)))
single_to_diff_rf.add(gdstk.Reference(cont_n, (67.6,-104.3)))
single_to_diff_rf.add(gdstk.Reference(cont_p, (54.4,-25.9)))
single_to_diff_rf.add(gdstk.Reference(cont_g, (35.6,-89.3)))
single_to_diff_rf.add(gdstk.Reference(cont_g, (43.6,-89.3)))
single_to_diff_rf.add(gdstk.Reference(cont_g, (51.6,-89.3)))
single_to_diff_rf.add(gdstk.Reference(cont_g, (59.6,-89.3)))
single_to_diff_rf.add(gdstk.Reference(cont_g, (67.6,-89.3)))
single_to_diff_rf.add(gdstk.Reference(cont_p, (57,-25.9)))
single_to_diff_rf.add(gdstk.Reference(cont_n, (35.6,-85.7)))
single_to_diff_rf.add(gdstk.Reference(cont_n, (43.6,-85.7)))
single_to_diff_rf.add(gdstk.Reference(cont_n, (51.6,-85.7)))
single_to_diff_rf.add(gdstk.Reference(cont_n, (59.6,-85.7)))
single_to_diff_rf.add(gdstk.Reference(cont_n, (67.6,-85.7)))
single_to_diff_rf.add(gdstk.Reference(cont_p, (59.6,-25.9)))
single_to_diff_rf.add(gdstk.Reference(cont_p, (62.2,-25.9)))
single_to_diff_rf.add(gdstk.Reference(cont_p, (64.8,-25.9)))
single_to_diff_rf.add(gdstk.Reference(cont_p, (67.4,-25.9)))
single_to_diff_rf.add(gdstk.Reference(cont_p, (70,-25.9)))
single_to_diff_rf.add(gdstk.Reference(cont_p, (72.6,-25.9)))
single_to_diff_rf.add(gdstk.Reference(cont_g, (43.6,-67.5)))
single_to_diff_rf.add(gdstk.Reference(cont_g, (51.6,-67.5)))
single_to_diff_rf.add(gdstk.Reference(cont_p, (25.8,-20.7)))
single_to_diff_rf.add(gdstk.Reference(cont_p, (25.8,-23.3)))
single_to_diff_rf.add(gdstk.Reference(cont_p, (25.8,-25.9)))
single_to_diff_rf.add(gdstk.Reference(cont_p, (28.4,-25.9)))
single_to_diff_rf.add(gdstk.Reference(cont_p, (31,-25.9)))
single_to_diff_rf.add(gdstk.Reference(cont_p, (33.6,-25.9)))
single_to_diff_rf.add(gdstk.Reference(cont_p, (36.2,-25.9)))
single_to_diff_rf.add(gdstk.Reference(cont_g, (26.7,-67.5)))
single_to_diff_rf.add(gdstk.Reference(cont_n, (26.7,-71.1)))
single_to_diff_rf.add(gdstk.Reference(cont_g, (26.7,-56.1)))
single_to_diff_rf.add(gdstk.Reference(cont_n, (26.7,-52.5)))
single_to_diff_rf.add(gdstk.Reference(cont_g, (35.6,-67.5)))
single_to_diff_rf.add(gdstk.Reference(cont_g, (59.6,-67.5)))
single_to_diff_rf.add(gdstk.Reference(cont_g, (67.6,-67.5)))
single_to_diff_rf.add(gdstk.Reference(cont_p, (119.4,-25.9)))
single_to_diff_rf.add(gdstk.Reference(cont_p, (122,-25.9)))
single_to_diff_rf.add(gdstk.Reference(cont_p, (124.6,-25.9)))
single_to_diff_rf.add(gdstk.Reference(res_diff_2, (111,-61.8)))
single_to_diff_rf.add(gdstk.Reference(cont_g, (84.3,-56.1)))
single_to_diff_rf.add(gdstk.Reference(cont_g, (84.3,-89.3)))
single_to_diff_rf.add(gdstk.Reference(cont_g, (98.9,-56.1)))
single_to_diff_rf.add(gdstk.Reference(cont_p, (124.6,-20.7)))
single_to_diff_rf.add(gdstk.Reference(cont_p, (124.6,-23.3)))
single_to_diff_rf.add(gdstk.Reference(cont_n, (84.3,-104.3)))
single_to_diff_rf.add(gdstk.Reference(cont_p, (116.8,-25.9)))
single_to_diff_rf.add(gdstk.Reference(cont_n, (98.9,-52.5)))
single_to_diff_rf.add(gdstk.Reference(cont_n, (84.3,-85.7)))
single_to_diff_rf.add(gdstk.Reference(cont_g, (98.9,-67.5)))
single_to_diff_rf.add(gdstk.Reference(cont_n, (98.9,-71.1)))
single_to_diff_rf.add(gdstk.Reference(cont_g, (107.4,-56.1)))
single_to_diff_rf.add(gdstk.Reference(cont_g, (114.6,-56.1)))
single_to_diff_rf.add(gdstk.Reference(cont_g, (123.1,-56.1)))
single_to_diff_rf.add(gdstk.Reference(cont_n, (84.3,-52.5)))
single_to_diff_rf.add(gdstk.Reference(cont_p, (77.8,-25.9)))
single_to_diff_rf.add(gdstk.Reference(cont_p, (80.4,-25.9)))
single_to_diff_rf.add(gdstk.Reference(cont_p, (83,-25.9)))
single_to_diff_rf.add(gdstk.Reference(cont_n, (107.4,-52.5)))
single_to_diff_rf.add(gdstk.Reference(cont_n, (114.6,-52.5)))
single_to_diff_rf.add(gdstk.Reference(cont_n, (123.1,-52.5)))
single_to_diff_rf.add(gdstk.Reference(cont_p, (85.6,-25.9)))
single_to_diff_rf.add(gdstk.Reference(cont_p, (88.2,-25.9)))
single_to_diff_rf.add(gdstk.Reference(cont_p, (90.8,-25.9)))
single_to_diff_rf.add(gdstk.Reference(cont_p, (93.4,-25.9)))
single_to_diff_rf.add(gdstk.Reference(cont_g, (107.4,-67.5)))
single_to_diff_rf.add(gdstk.Reference(cont_g, (114.6,-67.5)))
single_to_diff_rf.add(gdstk.Reference(cont_g, (123.1,-67.5)))
single_to_diff_rf.add(gdstk.Reference(cont_p, (96,-25.9)))
single_to_diff_rf.add(gdstk.Reference(cont_g, (84.3,-67.5)))
single_to_diff_rf.add(gdstk.Reference(cont_p, (98.6,-25.9)))
single_to_diff_rf.add(gdstk.Reference(cont_p, (101.2,-25.9)))
single_to_diff_rf.add(gdstk.Reference(cont_n, (107.4,-71.1)))
single_to_diff_rf.add(gdstk.Reference(cont_n, (114.6,-71.1)))
single_to_diff_rf.add(gdstk.Reference(cont_n, (123.1,-71.1)))
single_to_diff_rf.add(gdstk.Reference(cont_g, (84.3,-100.7)))
single_to_diff_rf.add(gdstk.Reference(cont_p, (103.8,-25.9)))
single_to_diff_rf.add(gdstk.Reference(cont_p, (106.4,-25.9)))
single_to_diff_rf.add(gdstk.Reference(cont_p, (109,-25.9)))
single_to_diff_rf.add(gdstk.Reference(cont_p, (111.6,-25.9)))
single_to_diff_rf.add(gdstk.Reference(cont_n, (84.3,-71.1)))
single_to_diff_rf.add(gdstk.Reference(cont_p, (114.2,-25.9)))
single_to_diff_rf.add(gdstk.Label('VDD', (91.4,77.4), layer=48, texttype=0))
single_to_diff_rf.add(gdstk.Label('VSS', (94,-111.7), layer=48, texttype=0))
single_to_diff_rf.add(gdstk.Label('RF_IN', (5.6,-1.2), layer=49, texttype=0))
single_to_diff_rf.add(gdstk.Label('RF_N', (131.2,15.6), layer=49, texttype=0))
single_to_diff_rf.add(gdstk.Label('RF_P', (130.8,-19.2), layer=49, texttype=0))

lib.write_gds('single_to_diff_RF.gds')
